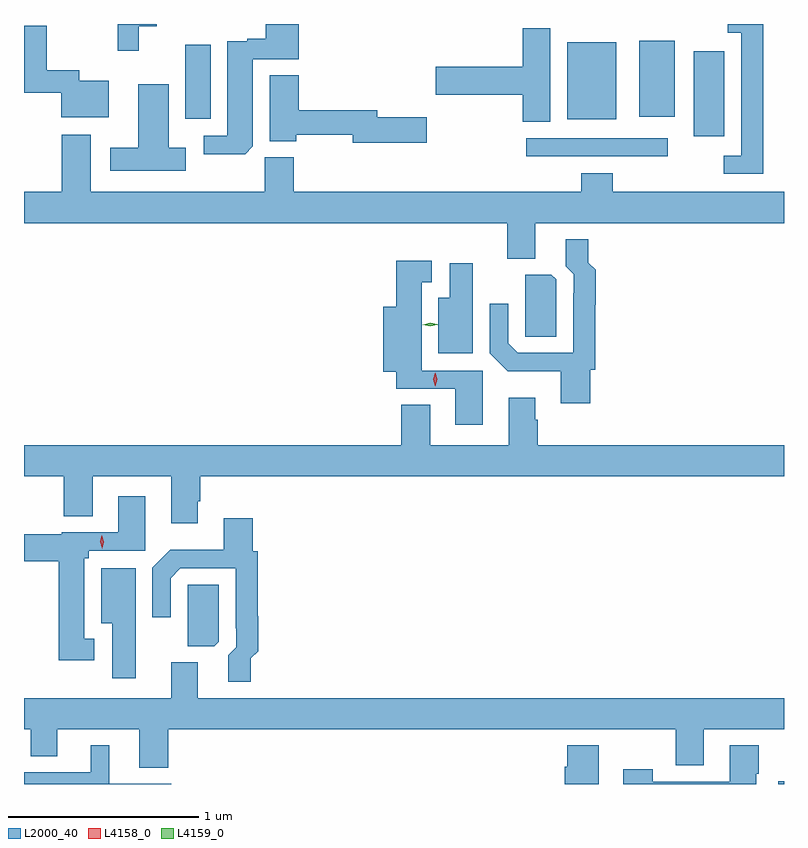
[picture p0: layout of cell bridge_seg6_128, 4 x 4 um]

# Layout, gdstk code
import gdstk
lib = gdstk.Library(unit=1e-6, precision=1e-09)
def R(c, l, rs):  # rectangles x0, y0, x1, y1
    for r in rs: c.add(gdstk.rectangle(r[:2], r[2:], *l))
def P(c, l, *ps):  # polygons
    for p in ps: c.add(gdstk.Polygon(p, *l))
L2000_40 = (2000, 40)
L4158_0 = (4158, 0)
L4159_0 = (4159, 0)

bridge_seg6_128 = lib.new_cell('bridge_seg6_128')
R(bridge_seg6_128, L2000_40, [(403.79,963.032,403.821,963.046), (402.465,966.336,403.21,966.432), (403.346,966.441,403.507,966.889), (402.68,966.53,402.937,966.937), (400.67,966.534,400.804,966.922), (403.058,966.545,403.246,966.943)])
P(bridge_seg6_128, L2000_40, [(403.712,967.032),(403.526,967.032),(403.526,966.986),(403.596,966.986),(403.596,966.339),(403.503,966.339),(403.503,966.243),(403.712,966.243)],
  [(400.425,967.02),(400.519,967.02),(400.519,967.032),(400.314,967.032),(400.314,966.891),(400.425,966.891)],
  [(401.026,966.388),(401.026,966.846),(401.266,966.846),(401.266,967.032),(401.093,967.032),(401.093,966.955),(400.997,966.955),(400.997,966.942),(400.892,966.942),(400.892,966.444),(400.767,966.444),(400.767,966.347),(400.985,966.347)],
  [(400.267,966.733),(400.113,966.733),(400.113,966.789),(399.942,966.789),(399.942,967.024),(399.821,967.024),(399.821,966.671),(400.017,966.671),(400.017,966.542),(400.267,966.542)],
  [(402.592,967.009),(402.446,967.009),(402.446,966.806),(401.988,966.806),(401.988,966.659),(402.446,966.659),(402.446,966.517),(402.592,966.517)],
  [(401.941,966.542),(401.68,966.542),(401.68,966.578),(401.267,966.578),(401.267,966.761),(401.114,966.761),(401.114,966.415),(401.254,966.415),(401.254,966.45),(401.552,966.45),(401.552,966.407),(401.941,966.407)],
  [(400.672,966.382),(400.582,966.382),(400.582,966.715),(400.421,966.715),(400.421,966.382),(400.275,966.382),(400.275,966.26),(400.672,966.26)],
  [(402.511,965.984),(403.821,965.984),(403.821,966.148),(402.92,966.148),(402.92,966.247),(402.755,966.247),(402.755,966.148),(401.24,966.148),(401.24,966.33),(401.089,966.33),(401.089,966.148),(400.171,966.148),(400.171,966.448),(400.019,966.448),(400.019,966.148),(399.821,966.148),(399.821,965.984),(402.364,965.984),(402.364,965.797),(402.511,965.797)],
  [(402.8,965.211),(402.827,965.211),(402.827,965.554),(402.83,965.554),(402.83,965.738),(402.791,965.776),(402.791,965.899),(402.671,965.899),(402.671,965.758),(402.714,965.715),(402.714,965.615),(402.711,965.615),(402.711,965.301),(402.42,965.301),(402.369,965.352),(402.369,965.56),(402.273,965.56),(402.273,965.298),(402.367,965.204),(402.647,965.204),(402.647,965.037),(402.8,965.037)],
  [(402.235,965.208),(401.914,965.208),(401.914,965.672),(401.968,965.672),(401.968,965.785),(401.78,965.785),(401.78,965.545),(401.711,965.545),(401.711,965.201),(401.78,965.201),(401.78,965.112),(402.092,965.112),(402.092,964.923),(402.235,964.923)],
  [(402.184,965.773),(402.062,965.773),(402.062,965.59),(402.002,965.59),(402.002,965.3),(402.184,965.3)],
  [(402.621,965.688),(402.597,965.712),(402.458,965.712),(402.458,965.497),(402.459,965.497),(402.459,965.386),(402.621,965.386)],
  [(400.735,964.519),(400.748,964.519),(400.748,964.652),(403.821,964.652),(403.821,964.816),(402.524,964.816),(402.524,964.949),(402.511,964.949),(402.511,965.065),(402.371,965.065),(402.371,964.816),(401.959,964.816),(401.959,965.027),(401.807,965.027),(401.807,964.816),(399.821,964.816),(399.821,964.652),(400.031,964.652),(400.031,964.441),(400.183,964.441),(400.183,964.652),(400.595,964.652),(400.595,964.404),(400.735,964.404)],
  [(400.192,963.797),(400.138,963.797),(400.138,964.221),(400.163,964.221),(400.163,964.26),(400.459,964.26),(400.459,964.546),(400.316,964.546),(400.316,964.356),(400.02,964.356),(400.02,964.347),(399.821,964.347),(399.821,964.205),(400.004,964.205),(400.004,963.684),(400.192,963.684)],
  [(401.015,963.693),(401.054,963.732),(401.054,963.914),(401.051,963.914),(401.051,964.257),(401.024,964.257),(401.024,964.432),(400.871,964.432),(400.871,964.264),(400.591,964.264),(400.497,964.17),(400.497,963.909),(400.593,963.909),(400.593,964.116),(400.644,964.167),(400.935,964.167),(400.935,963.853),(400.938,963.853),(400.938,963.753),(400.895,963.71),(400.895,963.57),(401.015,963.57)],
  [(400.408,964.168),(400.227,964.168),(400.227,963.878),(400.286,963.878),(400.286,963.588),(400.408,963.588)],
  [(400.845,963.78),(400.845,964.082),(400.683,964.082),(400.683,963.971),(400.682,963.971),(400.682,963.757),(400.821,963.757)],
  [(400.58,963.32),(403.252,963.32),(403.252,963.13),(403.399,963.13),(403.399,963.32),(403.821,963.32),(403.821,963.484),(400.735,963.484),(400.735,963.672),(400.595,963.672),(400.595,963.484),(399.821,963.484),(399.821,963.32),(399.857,963.32),(399.857,963.178),(399.997,963.178),(399.997,963.32),(400.427,963.32),(400.427,963.118),(400.58,963.118)],
  [(402.847,963.235),(402.68,963.235),(402.68,963.122),(402.668,963.122),(402.668,963.032),(402.847,963.032)],
  [(400.595,963.033),(400.27,963.033),(400.27,963.235),(400.172,963.235),(400.172,963.093),(399.821,963.093),(399.821,963.032),(400.595,963.032)],
  [(403.675,963.087),(403.688,963.087),(403.688,963.235),(403.535,963.235),(403.535,963.045),(403.131,963.045),(403.131,963.109),(402.975,963.109),(402.975,963.032),(403.675,963.032)])
P(bridge_seg6_128, L4158_0, [(400.233,964.271),(400.233,964.272),(400.222,964.306),(400.231,964.341),(400.231,964.342),(400.231,964.341),(400.242,964.307),(400.233,964.272)],
  [(401.985,965.126),(401.985,965.126),(401.975,965.161),(401.985,965.197),(401.985,965.197),(401.986,965.197),(401.995,965.161),(401.985,965.126)])
P(bridge_seg6_128, L4159_0, [(401.959,965.44),(401.92,965.449),(401.92,965.449),(401.92,965.449),(401.959,965.46),(401.997,965.451),(401.998,965.45),(401.997,965.45)])

lib.write_gds('bridge_seg6_128.gds')
